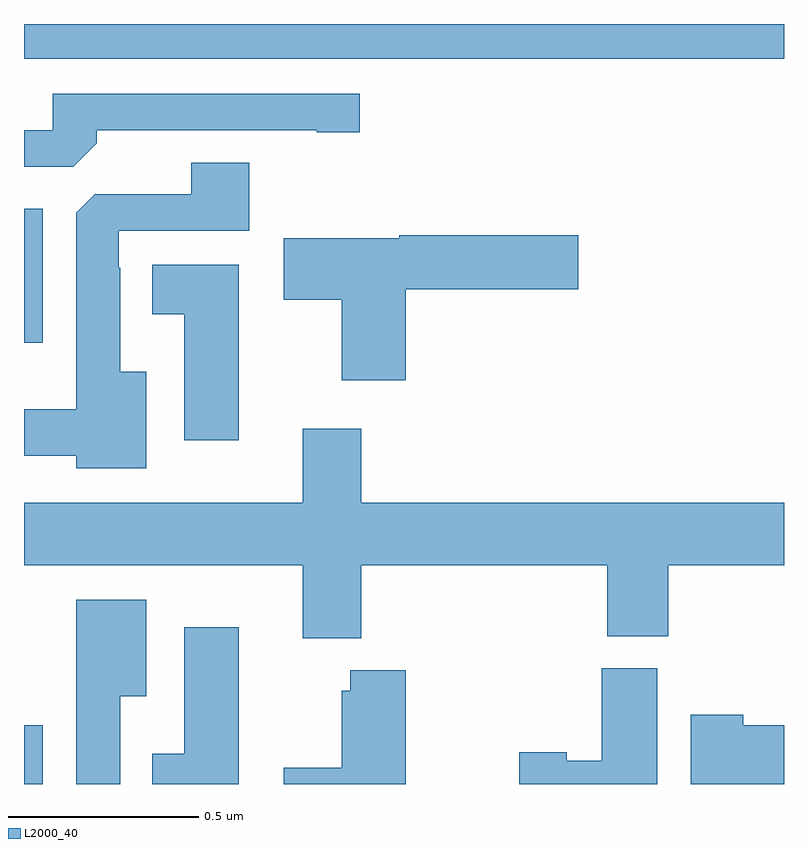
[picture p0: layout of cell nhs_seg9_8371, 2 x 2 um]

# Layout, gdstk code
import gdstk
lib = gdstk.Library(unit=1e-6, precision=1e-09)
def R(c, l, rs):  # rectangles x0, y0, x1, y1
    for r in rs: c.add(gdstk.rectangle(r[:2], r[2:], *l))
def P(c, l, *ps):  # polygons
    for p in ps: c.add(gdstk.Polygon(p, *l))
L2000_40 = (2000, 40)

nhs_seg9_8371 = lib.new_cell('nhs_seg9_8371')
R(nhs_seg9_8371, L2000_40, [(216,1206.5,216.049,1206.655), (216,1207.661,216.049,1208.014), (216,1208.408,218,1208.5)])
P(nhs_seg9_8371, L2000_40, [(216.191,1208.186),(216.191,1208.22),(216.77,1208.22),(216.77,1208.215),(216.883,1208.215),(216.883,1208.316),(216.075,1208.316),(216.075,1208.22),(216,1208.22),(216,1208.124),(216.129,1208.124)],
  [(216.322,1207.585),(216.253,1207.585),(216.253,1207.859),(216.249,1207.859),(216.249,1207.956),(216.593,1207.956),(216.593,1208.135),(216.44,1208.135),(216.44,1208.052),(216.186,1208.052),(216.137,1208.003),(216.137,1207.486),(216,1207.486),(216,1207.364),(216.137,1207.364),(216.137,1207.331),(216.322,1207.331)],
  [(217.004,1207.802),(217.459,1207.802),(217.459,1207.944),(216.987,1207.944),(216.987,1207.936),(216.684,1207.936),(216.684,1207.774),(216.836,1207.774),(216.836,1207.563),(217.004,1207.563)],
  [(216.565,1207.867),(216.338,1207.867),(216.338,1207.736),(216.422,1207.736),(216.422,1207.404),(216.565,1207.404)],
  [(216.887,1207.076),(217.535,1207.076),(217.535,1206.889),(217.695,1206.889),(217.695,1207.076),(218,1207.076),(218,1207.24),(216.887,1207.24),(216.887,1207.435),(216.734,1207.435),(216.734,1207.24),(216,1207.24),(216,1207.076),(216.734,1207.076),(216.734,1206.884),(216.887,1206.884)],
  [(216.253,1206.731),(216.322,1206.731),(216.322,1206.985),(216.137,1206.985),(216.137,1206.5),(216.253,1206.5)],
  [(216.565,1206.913),(216.422,1206.913),(216.422,1206.58),(216.338,1206.58),(216.338,1206.5),(216.565,1206.5)],
  [(217.666,1206.804),(217.52,1206.804),(217.52,1206.561),(217.428,1206.561),(217.428,1206.584),(217.303,1206.584),(217.303,1206.5),(217.666,1206.5)],
  [(217.004,1206.799),(216.859,1206.799),(216.859,1206.745),(216.836,1206.745),(216.836,1206.543),(216.684,1206.543),(216.684,1206.5),(217.004,1206.5)],
  [(218,1206.655),(217.893,1206.655),(217.893,1206.682),(217.754,1206.682),(217.754,1206.5),(218,1206.5)])

lib.write_gds('nhs_seg9_8371.gds')
